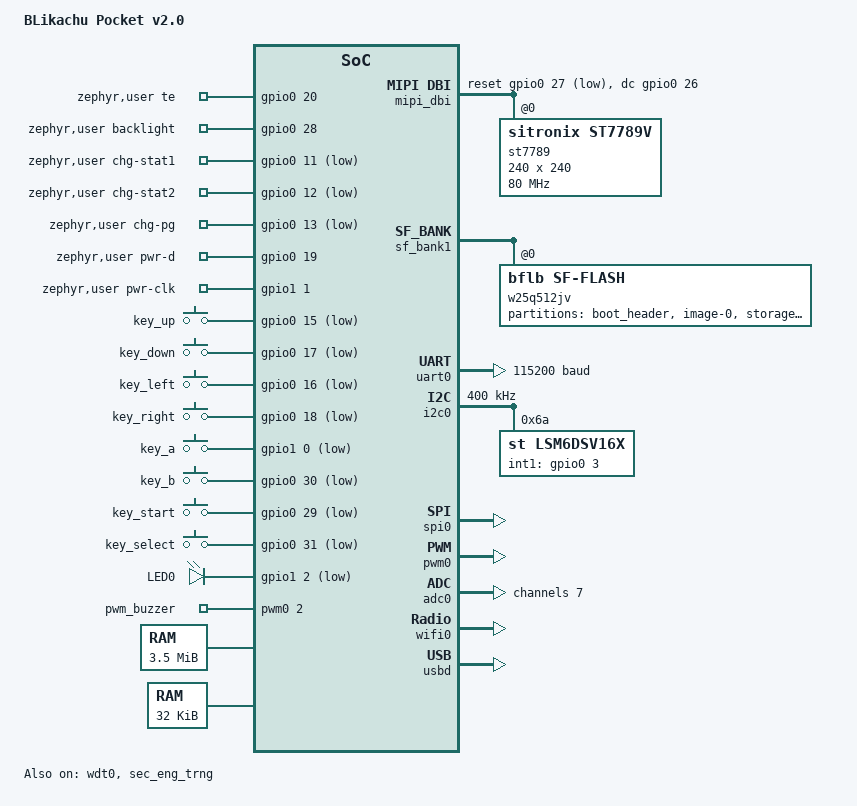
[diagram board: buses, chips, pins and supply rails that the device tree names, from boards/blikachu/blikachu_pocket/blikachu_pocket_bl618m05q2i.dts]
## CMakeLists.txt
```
#
# CMakeLists.txt for blikachu-pocket
#
# SPDX-License-Identifier: Apache-2.0
#

cmake_minimum_required(VERSION 3.20.0)

# Custom board blikachu_pocket lives in boards/blikachu/.
list(APPEND BOARD_ROOT ${CMAKE_CURRENT_SOURCE_DIR})

find_package(Zephyr REQUIRED HINTS $ENV{ZEPHYR_BASE})

project("blikachu-pocket")

include(cmake/libretro.cmake)
zephyr_linker_sources(ROM_START ${CMAKE_CURRENT_SOURCE_DIR}/src/libretro/initializers.ld)
zephyr_linker_sources(RAM_SECTIONS ${CMAKE_CURRENT_SOURCE_DIR}/src/libretro/memory.ld)
option(BLIKACHU_LIBRETRO_PROBE "Link headless libretro hardware diagnostics" ON)
if(BLIKACHU_LIBRETRO_PROBE)
    target_sources(app PRIVATE ${CMAKE_CURRENT_SOURCE_DIR}/src/libretro/probe.cpp)
endif()
target_include_directories(app PRIVATE ${CMAKE_CURRENT_SOURCE_DIR}/deps/libretro/common/include)
target_link_libraries(app PRIVATE lr_frontend lr_gambatte lr_fceumm lr_snes9x2005 lr_common)
zephyr_ld_options(-Wl,--wrap=__cxa_atexit)

target_sources(app PRIVATE
    ${CMAKE_CURRENT_SOURCE_DIR}/src/main.c
    ${CMAKE_CURRENT_SOURCE_DIR}/src/storage_shell.c
    ${CMAKE_CURRENT_SOURCE_DIR}/src/usb_upload.c
    ${CMAKE_CURRENT_SOURCE_DIR}/src/emu_shell.c
    ${CMAKE_CURRENT_SOURCE_DIR}/src/emu.c
    ${CMAKE_CURRENT_SOURCE_DIR}/src/menu.c
    ${CMAKE_CURRENT_SOURCE_DIR}/src/gfx.c
    ${CMAKE_CURRENT_SOURCE_DIR}/src/hud.c
    ${CMAKE_CURRENT_SOURCE_DIR}/src/input.c
    ${CMAKE_CURRENT_SOURCE_DIR}/src/storage.c
    ${CMAKE_CURRENT_SOURCE_DIR}/src/usbd_setup.c
    ${CMAKE_CURRENT_SOURCE_DIR}/src/resetinfo.c
    ${CMAKE_CURRENT_SOURCE_DIR}/src/battery.c
    ${CMAKE_CURRENT_SOURCE_DIR}/src/charger.c
    ${CMAKE_CURRENT_SOURCE_DIR}/src/settings.c
    ${CMAKE_CURRENT_SOURCE_DIR}/src/bootanim.c
    ${CMAKE_CURRENT_SOURCE_DIR}/src/libretro/audio.c
    ${CMAKE_CURRENT_SOURCE_DIR}/src/libretro/state.c
    ${CMAKE_CURRENT_SOURCE_DIR}/src/libretro/video.c
)
target_sources_ifdef(CONFIG_WIFI app PRIVATE ${CMAKE_CURRENT_SOURCE_DIR}/src/wifi_prov.c)
target_sources_ifdef(CONFIG_HTTP_SERVER app PRIVATE ${CMAKE_CURRENT_SOURCE_DIR}/src/webui.c)
target_sources_ifdef(CONFIG_LSM6DSV16X app PRIVATE ${CMAKE_CURRENT_SOURCE_DIR}/src/imu_shell.c)
if(CONFIG_HTTP_SERVER)
    # Firmware update: WiFi OTA + USB DFU share the PSRAM staging buffer
    # (src/ota.c) and the in-place installer.
    target_sources(app PRIVATE
        ${CMAKE_CURRENT_SOURCE_DIR}/src/ota.c
        ${CMAKE_CURRENT_SOURCE_DIR}/src/libretro/workspace.c
    )
    if(CONFIG_BOOTLOADER_MCUBOOT)
        target_sources(app PRIVATE src/bl618/fw_install_mcuboot.c src/bl618/dfu_shell.c bootloader/dfu_request.c)
        target_include_directories(app PRIVATE bootloader)
    else()
        target_sources(app PRIVATE src/bl618/fw_install.c)
    endif()
    target_sources_ifdef(CONFIG_USBD_DFU app PRIVATE
        ${CMAKE_CURRENT_SOURCE_DIR}/src/bl618/usb_dfu.c)
endif()
# The libc malloc arena lives in PSRAM — SRAM has no room left.
zephyr_code_relocate(FILES ${ZEPHYR_BASE}/lib/libc/common/source/stdlib/malloc.c
                     LOCATION PSRAM_NOINIT NOKEEP)
# NOTE: net_pkt.c pools CANNOT live in PSRAM — verified twice
# (2026-07-05, incl. a clean NOINIT-only test): the wifi blob DMAs
# frames directly into net_buf data; PSRAM is invisible to its
# engine and the chip hard-wedges on the first RX.
if(CONFIG_HTTP_SERVER)
    # Iterable section for the `webui` HTTP service's resources.
    zephyr_linker_sources(SECTIONS ${CMAKE_CURRENT_SOURCE_DIR}/src/webui-sections.ld)
    zephyr_linker_section(NAME http_resource_desc_webui KVMA RAM_REGION GROUP RODATA_REGION)
endif()

target_sources(app PRIVATE
    ${CMAKE_CURRENT_SOURCE_DIR}/src/platform_bl618.c
    ${CMAKE_CURRENT_SOURCE_DIR}/src/bl618/libgcc_ram.c
    # sys_arch_reboot(): Zephyr has none for BL61x.
    ${CMAKE_CURRENT_SOURCE_DIR}/src/bl618/reboot.c
)
# DFU / OTA payload: the whole-flash image (BFNP boot header + app)
# the BootROM boots, generated offline by bflb-mcu-tool.
if(NOT CONFIG_BOOTLOADER_MCUBOOT)
set(DFU_BIN ${CMAKE_BINARY_DIR}/zephyr/zephyr.dfu.bin)
add_custom_command(
    OUTPUT ${DFU_BIN}
    COMMAND ${PYTHON_EXECUTABLE} ${CMAKE_CURRENT_SOURCE_DIR}/tools/bflb_whole_img.py
            ${CMAKE_BINARY_DIR}/zephyr/zephyr.bin ${DFU_BIN}
    DEPENDS ${CMAKE_BINARY_DIR}/zephyr/zephyr.bin
            ${CMAKE_CURRENT_SOURCE_DIR}/tools/bflb_whole_img.py
            ${CMAKE_CURRENT_SOURCE_DIR}/tools/bflb_flash_support.py
            ${CMAKE_CURRENT_SOURCE_DIR}/tools/flash/W25Q512JV_ef4020.conf
)
add_custom_target(dfu_image ALL DEPENDS ${DFU_BIN})
add_dependencies(dfu_image zephyr_final)
endif()

target_include_directories(app PRIVATE
    ${CMAKE_CURRENT_SOURCE_DIR}/include
    ${CMAKE_CURRENT_SOURCE_DIR}/src
    ${CMAKE_CURRENT_SOURCE_DIR}/src/external
)


# Convert PNG assets to RGB565 C headers at build time.
set(ASSET_DIR ${CMAKE_CURRENT_SOURCE_DIR}/assets)
set(ASSET_GEN_DIR ${CMAKE_CURRENT_BINARY_DIR}/generated/assets)
file(MAKE_DIRECTORY ${ASSET_GEN_DIR})
file(GLOB ASSET_PNGS ${ASSET_DIR}/*.png)
foreach(png ${ASSET_PNGS})
    get_filename_component(name ${png} NAME_WE)
    set(hdr ${ASSET_GEN_DIR}/${name}_icon.h)
    # Full-screen art caps at the 240px panel (only shrinks if larger);
    # everything else is icon-sized at 80.
    if(name STREQUAL "sleep")
        set(asset_max 240)
    else()
        set(asset_max 80)
    endif()
    add_custom_command(
        OUTPUT ${hdr}
        COMMAND ${Python3_EXECUTABLE} ${CMAKE_CURRENT_SOURCE_DIR}/tools/png2rgb565.py ${png} ${hdr} ${asset_max}
        DEPENDS ${png} ${CMAKE_CURRENT_SOURCE_DIR}/tools/png2rgb565.py
                ${CMAKE_CURRENT_SOURCE_DIR}/tools/gif2frames.py
        COMMENT "asset: ${name}.png -> ${name}_icon.h"
    )
    list(APPEND ASSET_HEADERS ${hdr})
endforeach()
# Boot animation: GIF -> RGB565 frame arrays (one generated .c).
set(BOOT_ANIM_C ${ASSET_GEN_DIR}/boot_anim.c)
set(BOOT_ANIM_H ${ASSET_GEN_DIR}/boot_anim.h)
add_custom_command(
    OUTPUT ${BOOT_ANIM_C} ${BOOT_ANIM_H}
    COMMAND ${Python3_EXECUTABLE} ${CMAKE_CURRENT_SOURCE_DIR}/tools/gif2frames.py
            ${ASSET_DIR}/boot.gif ${BOOT_ANIM_C} ${BOOT_ANIM_H}
    DEPENDS ${ASSET_DIR}/boot.gif ${CMAKE_CURRENT_SOURCE_DIR}/tools/gif2frames.py
    COMMENT "asset: boot.gif -> boot_anim.c/h"
)
target_sources(app PRIVATE ${BOOT_ANIM_C})
list(APPEND ASSET_HEADERS ${BOOT_ANIM_H})

add_custom_target(asset_headers DEPENDS ${ASSET_HEADERS})
add_dependencies(app asset_headers)

target_include_directories(app PRIVATE ${ASSET_GEN_DIR})

# Keep the video conversion and core callback hot paths optimized.
set_source_files_properties(src/emu.c src/libretro/video.c src/libretro/audio.c
    PROPERTIES COMPILE_OPTIONS "-O3")
```

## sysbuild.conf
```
SB_CONFIG_BOOTLOADER_MCUBOOT=y
SB_CONFIG_MCUBOOT_MODE_SWAP_USING_OFFSET=y
SB_CONFIG_BOOT_SIGNATURE_TYPE_NONE=y
```

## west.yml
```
# West manifest for blikachu-pocket (BL618)
#
# Setup (from this directory):
#   ./build.sh
#
# (build.sh handles venv + west init + west update on first run)
#
# Zephyr: pinned to the v4.5.0 release. The BL61x USB device
# controller is not upstream and rides on top as patches/0003 (from
# will-tm/zephyr).

manifest:
  version: "1.0"

  remotes:
    - name: zephyr
      url-base: https://github.com/zephyrproject-rtos

  defaults:
    remote: zephyr

  projects:
    - name: zephyr
      revision: v4.5.0
      import:
        path-prefix: deps

    - name: libretro-common
      url: https://github.com/libretro/libretro-common
      revision: 09b55b683764d49ae1e640d7db5069931d6d2d40
      path: deps/libretro/common

    - name: libretro-gambatte
      url: https://github.com/libretro/gambatte-libretro
      revision: 138bcbbf311300a271896bf93a76370c72cab339
      path: deps/libretro/gambatte

    - name: libretro-fceumm
      url: https://github.com/libretro/libretro-fceumm
      revision: 236ccdfc911e84c60fea6b9d0699c2d440a8de14
      path: deps/libretro/fceumm

    - name: libretro-snes9x2005
      url: https://github.com/libretro/snes9x2005
      revision: deb49d80d1836e3e737480a326e31a54c46c04ae
      path: deps/libretro/snes9x2005
```

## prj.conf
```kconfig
#
# blikachu-pocket configuration
# Target: Bouffalo Lab BL618
#

# Serial / Console (over USB CDC ACM)
CONFIG_SERIAL=y
CONFIG_CONSOLE=y
CONFIG_UART_CONSOLE=y
CONFIG_UART_INTERRUPT_DRIVEN=y
CONFIG_UART_LINE_CTRL=y

# USB device stack — using the new device_next stack (USBD).
# Composite: CDC ACM (console + shell) and DFU (firmware updates).
CONFIG_USB_DEVICE_STACK=n
CONFIG_USB_DEVICE_STACK_NEXT=y
CONFIG_USBD_CDC_ACM_CLASS=y

CONFIG_USBD_LOG_LEVEL_WRN=y
# Disable noisy controller logging.
CONFIG_UDC_DRIVER_LOG_LEVEL_OFF=y

# Flash backend
CONFIG_FLASH=y
CONFIG_FLASH_MAP=y
CONFIG_FLASH_PAGE_LAYOUT=y
# Filesystem: LittleFS on NOR, with a separate raw XIP ROM partition.
CONFIG_FILE_SYSTEM=y
CONFIG_FS_LOG_LEVEL_WRN=y
CONFIG_FILE_SYSTEM_SHELL=y
CONFIG_FILE_SYSTEM_MKFS=y
CONFIG_FILE_SYSTEM_LITTLEFS=y
CONFIG_FS_LITTLEFS_CACHE_SIZE=256
CONFIG_FS_LITTLEFS_PROG_SIZE=16
CONFIG_FS_LITTLEFS_LOOKAHEAD_SIZE=64

# Logging
CONFIG_LOG=y
CONFIG_LOG_DEFAULT_LEVEL=3
CONFIG_LOG_BACKEND_UART=y
CONFIG_LOG_BUFFER_SIZE=16384
CONFIG_LOG_PROCESS_THREAD_CUSTOM_PRIORITY=y
CONFIG_LOG_PROCESS_THREAD_PRIORITY=2
# Wi-Fi connection diagnostics require more stack than the default 768 B.
CONFIG_LOG_PROCESS_THREAD_STACK_SIZE=4096
CONFIG_LOG_PROCESS_TRIGGER_THRESHOLD=1
CONFIG_LOG_PROCESS_THREAD_SLEEP_MS=100

# GPIO / SPI / PWM
CONFIG_GPIO=y
CONFIG_SPI=y
CONFIG_DMA=y
CONFIG_PWM=y
CONFIG_REGULATOR=y
CONFIG_REGULATOR_FIXED=y

# I2C bus and LSM6DSV16X IMU diagnostics.
CONFIG_I2C=y
CONFIG_I2C_SHELL=y
CONFIG_SENSOR=y
CONFIG_LSM6DSV16X=y

# Display: ST7789V via MIPI DBI (SPI)
CONFIG_DISPLAY=y
CONFIG_MIPI_DBI=y
CONFIG_MIPI_DBI_SPI=y
CONFIG_ST7789V=y
# Device PM so `sleep` can send the panel SLPIN (Sleep In) — DISPOFF
# alone leaves the booster/oscillator running (~mA vs tens of µA).
CONFIG_PM_DEVICE=y

# Input: gpio-keys polling, mapped to GB joypad in emu.c
CONFIG_INPUT=y
CONFIG_INPUT_GPIO_KEYS=y
# The input dispatcher thread defaults to K_LOWEST_APPLICATION_THREAD_PRIO,
# which the always-busy emu worker (prio 10) starves completely — the
# 16-entry event queue fills and button presses are dropped ("Event
# dropped, queue full" warnings). Keep it above the emu/render threads.
CONFIG_INPUT_THREAD_PRIORITY_OVERRIDE=y
CONFIG_INPUT_THREAD_PRIORITY=7

# Battery monitor: VBAT_MES (VBAT/2) on GPIO10/ADC7, logged every 30 s.
CONFIG_ADC=y

# Shell
CONFIG_SHELL=y
CONFIG_SHELL_BACKEND_SERIAL=y
CONFIG_SHELL_BACKEND_SERIAL_RX_RING_BUFFER_SIZE=2048
CONFIG_SHELL_BYPASS_READ_BUF_SIZE=256
# Raw register reads (`devmem`) — non-invasive hardware state checks
# (e.g. verifying the GPIO26 power-hold pad without reconfiguring it).
CONFIG_DEVMEM_SHELL=y
CONFIG_SHELL_PROMPT_UART="blikachu$ "
# Don't double-emit log lines through both the UART backend and the
# shell's own log forwarder — the duplicates flood CDC TX at 60 fps.
CONFIG_SHELL_LOG_BACKEND=n
# Shell and system workqueue also run filesystem operations and UI rendering.
CONFIG_SHELL_STACK_SIZE=8192
CONFIG_SYSTEM_WORKQUEUE_STACK_SIZE=8192

# 10 us system tick — emu_loop's k_timer paces frames at 16743 us (the
# real DMG period). At the default 100 us tick the period rounds and we
# cap at ~59.88 fps; with 10 us ticks we land within ~0.06% of 59.7275
# fps. Cost is 10x more tick interrupts, negligible at 312 MHz.
CONFIG_SYS_CLOCK_TICKS_PER_SEC=100000

# UDC buffer pool for concurrent CDC ACM and DFU transfers.
CONFIG_UDC_BUF_POOL_SIZE=8192
CONFIG_UDC_BUF_COUNT=24

# Memory
CONFIG_HEAP_MEM_POOL_SIZE=32768
CONFIG_MAIN_STACK_SIZE=8192

# Build with -O2 + further hot-path overrides in CMakeLists.txt for the
# emulator core. Plenty of flash room and we burn most cycles inside
# gb_run_frame, so size-for-speed trade is well worth it.
CONFIG_SPEED_OPTIMIZATIONS=y

# Crash diagnostics.
CONFIG_THREAD_NAME=y
CONFIG_THREAD_STACK_INFO=y
CONFIG_THREAD_RUNTIME_STATS=y
# Hardware watchdog, fed from a high-priority thread in resetinfo.c.
# A wedge that kills interrupts (fault-in-fault lockup, corrupted
# kernel) starves the feeder and the chip self-resets instead of
# hanging until a physical replug; chip_reset then shows WATCHDOG.
CONFIG_WATCHDOG=y

# Pin the shell to a higher-urgency priority than the emulator's runner so
# `quit`, `pause`, `stats` etc. always preempt the per-frame loop.
CONFIG_SHELL_THREAD_PRIORITY_OVERRIDE=y
CONFIG_SHELL_THREAD_PRIORITY=4

# Round-robin among same-priority preempt threads.
CONFIG_TIMESLICING=y
CONFIG_TIMESLICE_SIZE=10
CONFIG_TIMESLICE_PRIORITY=0
```

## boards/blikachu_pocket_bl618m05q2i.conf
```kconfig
# BL618 production overrides: complete game/UI stack, USB CDC +
# DFU, and WiFi/WebUI. UART0 is log output only.



# No fixed-regulator node on this board (power latch is GPIO-driven).
CONFIG_REGULATOR=n
CONFIG_REGULATOR_FIXED=n


# Tickless operation with 10 us ticks keeps 16.743 ms frame pacing accurate.
CONFIG_SYS_CLOCK_TICKS_PER_SEC=100000

# Gambatte uses the C++ library; allocation failures must reach the frontend.
CONFIG_CPP=y
CONFIG_REQUIRES_FULL_LIBCPP=y
CONFIG_STD_CPP17=y
CONFIG_CPP_EXCEPTIONS=y
CONFIG_CPP_RTTI=n
CONFIG_SYS_HEAP_RUNTIME_STATS=y

# `reboot` shell command (sys_reboot).
CONFIG_REBOOT=y

# Bring-up helpers: poke pins / ADC / PWM / buttons from the shell.
CONFIG_GPIO_SHELL=y
CONFIG_ADC_SHELL=y
CONFIG_PWM_SHELL=y
CONFIG_INPUT_SHELL=y
CONFIG_INPUT_EVENT_DUMP=y

# --- WiFi (BL61x full-MAC blob + hostap) ---
CONFIG_WIFI=y
# Upstream driver symbol (was BFLB_WIFI before the driver merged into
# drivers/wifi/bflb; auto-selects the wpa_supplicant + WL80211 shim).
CONFIG_WIFI_BFLB=y
CONFIG_NETWORKING=y
CONFIG_NET_L2_WIFI_MGMT=y
CONFIG_NET_L2_WIFI_SHELL=y
CONFIG_WPA_CLI=y
CONFIG_NET_IPV4=y
CONFIG_NET_DHCPV4=y
CONFIG_NET_UDP=y
CONFIG_NET_TCP=y
CONFIG_NET_SHELL=y
CONFIG_NET_LOG=y
CONFIG_DNS_RESOLVER=y
CONFIG_LOG_BUFFER_SIZE=1024
CONFIG_NET_MGMT_EVENT_QUEUE_SIZE=32
CONFIG_NET_MGMT_EVENT_QUEUE_TIMEOUT=100
# Keep the kernel and driver heap in SRAM; hostap scan results and other
# supplicant allocations use a separate PSRAM heap.
CONFIG_WIFI_NM_WPA_SUPPLICANT_GLOBAL_HEAP=n
CONFIG_WIFI_NM_WPA_SUPPLICANT_HEAP=49152
CONFIG_HEAP_MEM_POOL_SIZE=36864


# --- WebUI (Zephyr native http_server) ---
CONFIG_HTTP_SERVER=y
# libc malloc arena: default -1 grabs "all leftover RAM" which is a
# couple of KB here — first malloc aborts (found via the raw fatal
# dump: pc=malloc_prepare). Fixed size, relocated to PSRAM in CMake.
CONFIG_COMMON_LIBC_MALLOC_ARENA_SIZE=65536
CONFIG_HTTP_SERVER_RESOURCE_WILDCARD=y

# HTTP/TCP throughput tuning (from Will's speed_test project):
# full-frame net bufs + big TCP windows; pools live in PSRAM.
CONFIG_HTTP_SERVER_CLIENT_BUFFER_SIZE=1280
CONFIG_HTTP_SERVER_CLIENT_INACTIVITY_TIMEOUT=10
CONFIG_NET_TCP_RECV_QUEUE_TIMEOUT=300
CONFIG_NET_TCP_INIT_RETRANSMISSION_TIMEOUT=100
CONFIG_HTTP_SERVER_MAX_CLIENTS=3
# HTTP/1.1 only (meme_portal-proven); smaller server stack.
CONFIG_HTTP_SERVER_VERSION_1=y
CONFIG_HTTP_SERVER_VERSION_2=n
# RX processing must not run cooperative: a coop TC thread hogging
# the CPU during a big upload starves every preemptible thread (wdt
# feeder, USB, shell) — exactly the observed wedge signature.
CONFIG_NET_TC_THREAD_PREEMPTIVE=y
# fs/settings/PBKDF2 paths need the full 8K shell stack ;
# 6144 overflowed silently (no PSPLIM on riscv) once layout shifted —
# crashed every deep flash write. Paid for by halving HTTP buffers.
CONFIG_SHELL_STACK_SIZE=8192
CONFIG_HTTP_SERVER_WEBSOCKET=y
CONFIG_WEBSOCKET_CLIENT=y
# Aborted uploads hold TCP contexts until timeout; default 6 runs out.
CONFIG_NET_MAX_CONTEXTS=8
# Buzzer frequency changes are routine; suppress PWM driver INFO logs.
CONFIG_PWM_LOG_LEVEL_WRN=y

# --- USB DFU firmware update (src/bl618/usb_dfu.c) ---
# dfu-util -d 2e8a:000a -D build/zephyr/zephyr.dfu.bin
CONFIG_USBD_DFU=y
CONFIG_USBD_DFU_TRANSFER_SIZE=1024
CONFIG_USBD_DFU_ENABLE_UPLOAD=n
# Not manifestation tolerant: the device installs and resets after the
# download instead of returning to dfuIDLE.
CONFIG_USBD_DFU_MANIFESTATION_TOLERANT=n
CONFIG_USBD_DFU_LOG_LEVEL_WRN=y
# Image check (SHA-256 against the BFNP header).
CONFIG_PSA_CRYPTO=y
CONFIG_PSA_WANT_ALG_SHA_256=y

# Keep CDC traffic from generating a log entry for every transmitted chunk.
CONFIG_USBD_CDC_ACM_LOG_LEVEL_WRN=y

# Installer error paths must not call XIP-resident logging after erase.
CONFIG_FLASH_LOG_LEVEL_OFF=y

CONFIG_FILE_SYSTEM_SHELL_MOUNT_COMMAND=n
```

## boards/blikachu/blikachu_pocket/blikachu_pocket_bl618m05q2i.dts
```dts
/*
 * BLikachu Pocket v2.0 — BL618 handheld Game Boy emulator.
 *
 * Pin map (from hardware/ PCB netlist — pads are ground truth,
 * the schematic is partly an Eagle import):
 *   I2C0 (LSM6DSV16X IMU, INT1=GPIO3):
 *     SCL=GPIO0  SDA=GPIO1
 *   BOOT button (SW1, to +3V3 — BootROM entry, not an input key):
 *     GPIO2
 *   QSPI flash on SF2 pad set (external — BL618M05 has no internal
 *   die): W25Q512JV 64 MB (U3).
 *     CS=GPIO4 D1=GPIO5 D2=GPIO6 D0=GPIO7 CLK=GPIO8 D3=GPIO9
 *   Battery measurement: VBAT_MES=GPIO10 (VBAT/2, ADC CH7)
 *   Charger status (MCP73871, open-drain active-low):
 *     STAT1=GPIO11  STAT2=GPIO12  PG=GPIO13
 *   Magnetic buzzer (BZ1 on +3V3 via Q4 BC847, D12 flyback):
 *     GPIO14 (PWM0 CH2P)
 *   D-pad / buttons (active-low, internal pull-up):
 *     UP=GPIO15  LEFT=GPIO16  DOWN=GPIO17  RIGHT=GPIO18
 *     START=GPIO29  B=GPIO30  SELECT=GPIO31  A=GPIO32
 *   Power latch (74LVC1G80 ~Q -> Q3 NMOS -> Q5 PMOS, VBAT->VIN):
 *     D=GPIO19 (/PWR_ON)  CP=GPIO33 (/CLOCK_FF)
 *     R40 (0R) ties D to ~Q: a toggle flip-flop, each CP rising edge
 *     flips power. ~Q high = held. GPIO19 is input-only (reads ~Q).
 *     Power button pulls Q5's gate via D8 (and reads as START via D9).
 *   ST7789V SPI 240x240 (ZJY133T-IF05 FPC, write-only):
 *     MOSI=GPIO23  CS=GPIO24  SCLK=GPIO25  DC(RS)=GPIO26  RST=GPIO27
 *     TE=GPIO20  Backlight=GPIO28 (Q2 low-side, PWM0 CH0P)
 *   UART0 console/shell (J3 header + CKLink adapter):
 *     TX=GPIO21  RX=GPIO22  (BootROM download pins too)
 *   USB-C: native USB HS PHY (dedicated pins, via USBLC6 ESD) —
 *     CDC ACM shell via the bl61x UDC (patches/0003).
 *   LED0=GPIO34
 *
 * GPIO numbering: gpio0 covers GPIO0-31, gpio1 covers GPIO32-34
 * (pins 0-2).
 *
 * Flash layout (64 MB W25Q512JV, 4-byte addresses):
 *   boot_header: 8 KiB (BootROM flash config + app length/SHA-256)
 *   image-0:     8 MB minus the header
 *   storage:     56 MB FATFS "NAND"
 *
 * SPDX-License-Identifier: Apache-2.0
 */

/dts-v1/;

#include <bflb/bl618.dtsi>
#include <bflb/bl61x_em_32kb_wifi.dtsi>

#include <freq.h>
#include <zephyr/dt-bindings/input/input-event-codes.h>
#include <zephyr/dt-bindings/display/panel.h>
#include <zephyr/dt-bindings/mipi_dbi/mipi_dbi.h>
#include <zephyr/dt-bindings/pwm/pwm.h>
#include <zephyr/dt-bindings/sensor/lsm6dsv16x.h>

/ {
	model = "BLikachu Pocket v2.0";
	compatible = "bflb,bl618";

	chosen {
		zephyr,flash = &w25q512jv;
		zephyr,flash-controller = &sf_bank1;
		zephyr,code-partition = &code_partition;
		zephyr,sram = &all_ram;
		zephyr,console = &uart0;
		zephyr,shell-uart = &cdc_acm_uart0;
		zephyr,entropy = &sec_eng_trng;
		zephyr,display = &st7789;
	};

	aliases {
		buzzer = &pwm_buzzer;
		watchdog0 = &wdt0;
		vbat-adc = &adc0;
		led0 = &led_0;
	};

	zephyr,user {
		/* ST7789V tear-effect output. */
		te-gpios = <&gpio0 20 GPIO_ACTIVE_HIGH>;
		/* Backlight moved off PWM0 (single global period shared
		 * with the buzzer — every note retuned it): timer0
		 * soft-PWM drives the pin as plain GPIO instead.
		 */
		backlight-gpios = <&gpio0 28 GPIO_ACTIVE_HIGH>;

		/* MCP73871 status outputs (open-drain, LED-loaded — internal
		 * pull-ups required for a solid released level).
		 */
		chg-stat1-gpios = <&gpio0 11 (GPIO_ACTIVE_LOW | GPIO_PULL_UP)>;
		chg-stat2-gpios = <&gpio0 12 (GPIO_ACTIVE_LOW | GPIO_PULL_UP)>;
		chg-pg-gpios = <&gpio0 13 (GPIO_ACTIVE_LOW | GPIO_PULL_UP)>;

		/* 74LVC1G80 power latch, D tied to ~Q (R40): GPIO19 reads
		 * the state (high = held), a CP rising edge toggles it.
		 */
		pwr-d-gpios = <&gpio0 19 GPIO_ACTIVE_HIGH>;
		pwr-clk-gpios = <&gpio1 1 GPIO_ACTIVE_HIGH>;	/* GPIO33 */
	};

	keys: gpio_keys {
		compatible = "gpio-keys";
		polling-mode;

		key_up: key_up {
			gpios = <&gpio0 15 (GPIO_ACTIVE_LOW | GPIO_PULL_UP)>;
			zephyr,code = <INPUT_KEY_UP>;
		};
		key_down: key_down {
			gpios = <&gpio0 17 (GPIO_ACTIVE_LOW | GPIO_PULL_UP)>;
			zephyr,code = <INPUT_KEY_DOWN>;
		};
		key_left: key_left {
			gpios = <&gpio0 16 (GPIO_ACTIVE_LOW | GPIO_PULL_UP)>;
			zephyr,code = <INPUT_KEY_LEFT>;
		};
		key_right: key_right {
			gpios = <&gpio0 18 (GPIO_ACTIVE_LOW | GPIO_PULL_UP)>;
			zephyr,code = <INPUT_KEY_RIGHT>;
		};
		key_a: key_a {
			gpios = <&gpio1 0 (GPIO_ACTIVE_LOW | GPIO_PULL_UP)>;	/* GPIO32 */
			zephyr,code = <INPUT_BTN_A>;
		};
		key_b: key_b {
			gpios = <&gpio0 30 (GPIO_ACTIVE_LOW | GPIO_PULL_UP)>;
			zephyr,code = <INPUT_BTN_B>;
		};
		key_start: key_start {
			gpios = <&gpio0 29 (GPIO_ACTIVE_LOW | GPIO_PULL_UP)>;
			zephyr,code = <INPUT_BTN_START>;
		};
		key_select: key_select {
			gpios = <&gpio0 31 (GPIO_ACTIVE_LOW | GPIO_PULL_UP)>;
			zephyr,code = <INPUT_BTN_SELECT>;
		};
	};

	leds {
		compatible = "gpio-leds";
		led_0: led_0 {
			gpios = <&gpio1 2 GPIO_ACTIVE_LOW>;	/* GPIO34 */
			label = "LED0";
		};
	};

	mipi_dbi {
		compatible = "zephyr,mipi-dbi-spi";
		spi-dev = <&spi0>;
		dc-gpios = <&gpio0 26 GPIO_ACTIVE_HIGH>;
		reset-gpios = <&gpio0 27 GPIO_ACTIVE_LOW>;
		write-only;
		#address-cells = <1>;
		#size-cells = <0>;

		st7789: st7789v@0 {
			compatible = "sitronix,st7789v";
			mipi-max-frequency = <DT_FREQ_M(80)>;
			reg = <0>;
			width = <240>;
			height = <240>;
			x-offset = <0>;
			y-offset = <0>;
			vcom = <0x37>;
			gctrl = <0x35>;
			vrhs = <0x12>;
			vdvs = <0x20>;
			mdac = <0x00>;
			gamma = <0x01>;
			pixel-format = <PANEL_PIXEL_FORMAT_RGB_565>;
			lcm = <0x2c>;
			porch-param = [0c 0c 00 33 33];
			cmd2en-param = [5a 69 02 01];
			pwctrl1-param = [a4 a1];
			pvgam-param = [d0 04 0d 11 13 2b 3f 54 4c 18 0d 0b 1f 23];
			nvgam-param = [d0 04 0c 11 13 2c 3f 44 51 2f 1f 1f 20 23];
			ram-param = [00 f0];
			rgb-param = [cd 08 14];
			mipi-mode = "MIPI_DBI_MODE_SPI_4WIRE";
		};
	};

	pwmleds {
		compatible = "pwm-leds";
		pwm_buzzer: pwm_buzzer {
			pwms = <&pwm0 2 0 PWM_POLARITY_NORMAL>;	/* GPIO14 CH2P */
		};
	};
};

/* CPU boost on AU PLL; keep BCLK, WiFi PLL, flash and PSRAM at
 * their normal peripheral rates. */
&clk_aupll {
	top-frequency = <BL61X_TOP_FREQ_OC1>;
};

&clk_bclk {
	divider = <6>;
};

&cpu0 {
	clock-frequency = <DT_FREQ_M(480)>;
};

/* With Bluetooth disabled, EM_SEL=0 exposes the upper 32 KiB of WRAM.
 * The lower 128 KiB stays reserved for WiFi and DMA data. Use the cached
 * alias of the upper slice for emulator code, with no physical overlap.
 */
/ {
	core_ram: memory@a8080000 {
		compatible = "zephyr,memory-region";
		reg = <0xa8080000 DT_SIZE_K(3584)>;
		zephyr,memory-region = "CORE_RAM";
		zephyr,memory-region-flags = "rw";
	};

	emu_code: memory@63030000 {
		compatible = "zephyr,memory-region";
		reg = <0x63030000 DT_SIZE_K(32)>;
		zephyr,memory-region = "EMURAM";
		zephyr,memory-region-flags = "rx";
	};
};

/* Firmware/network buffers are separate from the mutually exclusive core
 * and firmware-update workspace in the upper 3.5 MiB of physical PSRAM.
 */
&psram {
	reg = <0xa8000000 DT_SIZE_K(512)>;
	ranges = <0x0 0xa8000000 DT_SIZE_K(512)>;
};

&pinctrl {
	uart0_default: uart0_default {
		group1 {
			pinmux = <GPIO22_UART0_RX>,
				 <GPIO21_UART0_TX>;
			bias-pull-up;
			input-schmitt-enable;
		};
	};

	uart0_sleep: uart0_sleep {
		group1 {
			pinmux = <GPIO22_UART0_RX>,
				 <GPIO21_UART0_TX>;
			bias-high-impedance;
		};
	};

	i2c0_default: i2c0_default {
		group1 {
			pinmux = <GPIO0_I2C0_SCL>,
				 <GPIO1_I2C0_SDA>;
			bias-pull-up;
			input-schmitt-enable;
		};
	};

	spi0_display: spi0_display {
		group1 {
			pinmux = <GPIO25_SPI_SCLK>,
				 <GPIO23_SPI_MOSI>;
			bias-pull-up;
			input-schmitt-enable;
		};
	};

	pwm0_default: pwm0_default {
		group1 {
			pinmux = <GPIO14_PWM0_CH2P>;	/* buzzer */
			bias-pull-up;
			input-schmitt-enable;
			drive-strength = <1>;
		};
	};

	adc0_default: adc0_default {
		group1 {
			pinmux = <GPIO10_ADC_CH7>;	/* VBAT_MES = VBAT/2 */
		};
	};

	sf2_default: sf2_default {
		group1 {
			pinmux = <GPIO4_SF2_CS>,
				 <GPIO5_SF2_D1>,
				 <GPIO6_SF2_D2>,
				 <GPIO7_SF2_D0>,
				 <GPIO8_SF2_CLK>,
				 <GPIO9_SF2_D3>;
			bias-pull-up;
			input-schmitt-enable;
			drive-strength = <2>;
		};
	};
};

&clk_flash {
	divider = <1>;
};

&sf_ctrl {
	use-32b-addresses;
	override-bank1;
	no-header;
};

&sf_bank1 {
	reg = <0xa0000000 DT_SIZE_M(64)>;
	ranges = <0x0 0xa0000000 DT_SIZE_M(64)>;

	pinctrl-0 = <&sf2_default>;
	pinctrl-names = "default";

	w25q512jv: flash@0 {
		compatible = "bflb,sf-flash", "soc-nv-flash";
		reg = <0 DT_SIZE_M(64)>;
		ranges;
		#address-cells = <1>;
		#size-cells = <1>;
		write-block-size = <4>;
		erase-block-size = <DT_SIZE_K(4)>;

		spi-bus-mode = <2>;
		use-sfdp;
		sf-pad = <2>;
		jedec-id = [ef 40 20];

		/* Quad-output reads retain a single-line command/address phase
		 * and have no continuous-read mode byte. SFDP supplies QE setup.
		 */
		read-command = <0x6b>;
		read-dummy-cycles = <1>;

		partitions {
			ranges;
			#address-cells = <1>;
			#size-cells = <1>;

			boot_header_partition: partition@0 {
				compatible = "zephyr,mapped-partition";
				label = "boot_header";
				reg = <0x00000000 0x2000>;
				read-only;
			};

			code_partition: partition@2000 {
				compatible = "zephyr,mapped-partition";
				label = "image-0";
				reg = <0x00002000 (DT_SIZE_M(8) - 0x2000)>;
				read-only;
			};

			storage_partition: partition@800000 {
				compatible = "zephyr,mapped-partition";
				label = "storage";
				reg = <DT_SIZE_M(8) DT_SIZE_M(8)>;
			};

			rom_partition: partition@1000000 {
				compatible = "zephyr,mapped-partition";
				label = "roms";
				reg = <DT_SIZE_M(16) DT_SIZE_M(48)>;
			};
		};
	};
};

&uart0 {
	status = "okay";
	current-speed = <115200>;

	pinctrl-0 = <&uart0_default>;
	pinctrl-1 = <&uart0_sleep>;
	pinctrl-names = "default", "sleep";
};

&i2c0 {
	status = "okay";
	clock-frequency = <I2C_BITRATE_FAST>;

	pinctrl-0 = <&i2c0_default>;
	pinctrl-names = "default";

	lsm6dsv16x: lsm6dsv16x@6a {
		compatible = "st,lsm6dsv16x";
		reg = <0x6a>;
		int1-gpios = <&gpio0 3 GPIO_ACTIVE_HIGH>;
		accel-odr = <LSM6DSVXXX_DT_ODR_AT_60Hz>;
		accel-range = <LSM6DSV16X_DT_FS_2G>;
		status = "okay";
	};
};

&spi0 {
	status = "okay";

	pinctrl-0 = <&spi0_display>;
	pinctrl-names = "default";

	cs-gpios = <&gpio0 24 GPIO_ACTIVE_LOW>;

	/* Display push: TX over DMA channel 0 (trigsrc 0xb = SPI0_TX) */
	dmas = <&dma0 0 0xb>;
	dma-names = "tx";
};

&dma0 {
	status = "okay";
};

&pwm0 {
	status = "okay";

	pinctrl-0 = <&pwm0_default>;
	pinctrl-names = "default";
};

&adc0 {
	status = "okay";

	pinctrl-0 = <&adc0_default>;
	pinctrl-names = "default";

	#address-cells = <1>;
	#size-cells = <0>;

	channel@7 {
		reg = <7>;
		zephyr,gain = "ADC_GAIN_1";
		zephyr,reference = "ADC_REF_INTERNAL";
		zephyr,acquisition-time = <ADC_ACQ_TIME_DEFAULT>;
		zephyr,resolution = <16>;
		zephyr,input-positive = <7>;
	};
};

&wdt0 {
	status = "okay";
};

&sec_eng_trng {
	status = "okay";
};

&gpio0 {
	status = "okay";
};

&gpio1 {
	status = "okay";
};

&wifi0 {
	status = "okay";
};

zephyr_udc0: &usbd {
	status = "okay";

	cdc_acm_uart0: cdc_acm_uart0 {
		compatible = "zephyr,cdc-acm-uart";
	};
};
```

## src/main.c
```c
/*
 * SPDX-FileCopyrightText: Copyright The Zephyr Project Contributors
 *
 * SPDX-License-Identifier: Apache-2.0
 */

#include <stdlib.h>
#include <string.h>
#include <strings.h>
#include <zephyr/kernel.h>
#include <zephyr/logging/log.h>
#include <zephyr/drivers/uart.h>
#include <zephyr/device.h>
#include <zephyr/shell/shell.h>
#include <zephyr/fs/fs.h>
#include <zephyr/drivers/hwinfo.h>
#include <zephyr/drivers/display.h>
#include <zephyr/pm/device.h>


#include "bootanim.h"
#ifdef CONFIG_BOOTLOADER_MCUBOOT
#include <zephyr/dfu/mcuboot.h>
#endif
#include "charger.h"
#include "emu.h"
#include <libretro.h>
#include "gfx.h"
#include "hud.h"
#include "input.h"
#include "menu.h"
#include "settings.h"
#include "storage.h"
#include "usbd_setup.h"

LOG_MODULE_REGISTER(blikachu, LOG_LEVEL_INF);

#include "platform.h"
#include "bl618/reboot.h"

static int cmd_reboot(const struct shell *sh, size_t argc, char **argv)
{
	ARG_UNUSED(argc);
	ARG_UNUSED(argv);
	shell_print(sh, "Rebooting...");
	storage_unmount();
	/* Let the CDC TX drain so the message actually reaches the host. */
	k_msleep(100);
	platform_reboot();
	return 0;
}
SHELL_CMD_REGISTER(reboot, NULL, "Soft-reboot back into the firmware (warm reset)", cmd_reboot);

static int cmd_isp(const struct shell *sh, size_t argc, char **argv)
{
	ARG_UNUSED(argc);
	ARG_UNUSED(argv);
	shell_print(sh, "Entering BootROM ISP...");
	emu_quit();
	emu_wait();
	storage_unmount();
	k_msleep(100);
	bl618_enter_isp();
}
SHELL_CMD_REGISTER(isp, NULL, "Reset into BootROM ISP", cmd_isp);

/* Power-off: blank the display, unmount storage and drop the power latch. */
#include "sleep_icon.h" /* generated from assets/sleep.png */

static int enter_deep_sleep(void)
{
	emu_buzzer_blip(440, 120);
	emu_quit();
	emu_wait();
	storage_unmount();

	/* Goodnight splash for 2 s before the panel goes dark (also
	 * covers CDC TX drain and emu wind-down).
	 */
	if (gfx_init() == 0) {
		gfx_clear(COLOR_BLACK);
		/* Full-panel art: center against the physical 240x240 panel
		 * (gfx_draw_image applies the +LCD_VIEW_Y viewport offset,
		 * compensate so panel row 0 is reachable).
		 */
		(void)gfx_draw_image_rle((LCD_PANEL_W - SLEEP_ICON_W) / 2,
			(LCD_PANEL_H - SLEEP_ICON_H) / 2 - LCD_VIEW_Y, SLEEP_ICON_W,
			SLEEP_ICON_H, sleep_icon_rle, ARRAY_SIZE(sleep_icon_rle));
	}
	k_msleep(2000);

	/* LCD off: panel display-off + backlight (GPIO28) to zero. */
	const struct device *disp = DEVICE_DT_GET_OR_NULL(DT_CHOSEN(zephyr_display));
	int rc_blank = -1;
	int rc_pm = -1;

	if (disp && device_is_ready(disp)) {
		rc_blank = display_blanking_on(disp);
		/* SLPIN: stop the panel booster/oscillator (~mA -> µA).
		 * The 3V3 rail stays up in deep sleep, so panel idle draw
		 * is part of the sleep floor.
		 */
		rc_pm = pm_device_action_run(disp, PM_DEVICE_ACTION_SUSPEND);
	}
	gfx_backlight_off();
	LOG_INF("sleep: blank=%d pm=%d", rc_blank, rc_pm);
	k_msleep(150); /* drain the log over CDC before the link dies */

	/* Enter the platform's deepest state; only returns on refusal
	 * (e.g. externally powered) — re-light and carry on.
	 */
	int rc = platform_deep_sleep();

	(void)gfx_backlight_set(gfx_backlight_get());
	if (disp && device_is_ready(disp)) {
		(void)pm_device_action_run(disp, PM_DEVICE_ACTION_RESUME);
		(void)display_blanking_off(disp);
	}
	return rc;
}

static int cmd_sleep(const struct shell *sh, size_t argc, char **argv)
{
	/* `sleep dry`: run the LCD-off sequence but stay awake — lets the
	 * screen state be inspected with the console alive (debug).
	 */
	if (argc > 1 && strcmp(argv[1], "dry") == 0) {
		const struct device *disp = DEVICE_DT_GET_OR_NULL(DT_CHOSEN(zephyr_display));
		int rc_blank = -1;
		int rc_pm = -1;

		if (disp && device_is_ready(disp)) {
			rc_blank = display_blanking_on(disp);
			rc_pm = pm_device_action_run(disp, PM_DEVICE_ACTION_SUSPEND);
		}
		gfx_backlight_off();
		shell_print(sh, "dry sleep: blank=%d pm=%d — restoring in 8 s", rc_blank, rc_pm);
		k_sleep(K_SECONDS(8));
		(void)gfx_backlight_set(gfx_backlight_get());
		if (disp && device_is_ready(disp)) {
			(void)pm_device_action_run(disp, PM_DEVICE_ACTION_RESUME);
			(void)display_blanking_off(disp);
		}
		shell_print(sh, "restored");
		return 0;
	}

	shell_print(sh, "Deep sleep: wake on SELECT/B/A/START...");
	int rc = enter_deep_sleep();

	shell_error(sh, "sleep failed: %d", rc);
	return rc;
}
SHELL_CMD_REGISTER(sleep, NULL, "Deepest sleep (no RAM retention), wake on SELECT/B/A/START",
		   cmd_sleep);

/* ---- Global button hotkeys ----
 *
 * Observes raw input events independently of whoever owns the input
 * handler (menu or emulator); synthetic `emu btn` presses do NOT pass
 * through here (they poke the joypad word directly).
 *
 *  - START held >1.5 s      → deep sleep
 *  - SELECT + UP / DOWN     → volume up / down (0..11)
 *  - SELECT + LEFT / RIGHT  → backlight dimmer / brighter (1..10)
 *
 * Volume/brightness are persisted through the settings store, debounced
 * so button-mashing doesn't hammer the flash.
 */
#define LONGPRESS_TIMEOUT K_MSEC(1500)

static void sleep_longpress_work_fn(struct k_work *w)
{
	ARG_UNUSED(w);
	/* Power-on grace: on v2 the power button doubles as a key and
	 * must be held until the latch engages — don't let that same
	 * press read as "START held, sleep" (which on BL618 releases
	 * the latch = instant power-off after boot).
	 */
	if (k_uptime_get() < 5000) {
		LOG_INF("START held during boot — ignoring (power-on press)");
		return;
	}
	LOG_INF("START held — entering deep sleep");
	(void)enter_deep_sleep();
}
static K_WORK_DELAYABLE_DEFINE(g_sleep_longpress, sleep_longpress_work_fn);

/* Idle auto-sleep: 5 minutes without a button press while the MENU is
 * showing AND running on battery. Rearmed by every physical input
 * event (the hotkey filter sees them all); a running game or
 * external power (charger PG) postpones sleep.
 */
#define IDLE_SLEEP_TIMEOUT K_MINUTES(5)

static void idle_sleep_work_fn(struct k_work *w);
static K_WORK_DELAYABLE_DEFINE(g_idle_sleep, idle_sleep_work_fn);

static void idle_sleep_work_fn(struct k_work *w)
{
	ARG_UNUSED(w);
	struct emu_stats s;

	emu_get_stats(&s);
	if (s.running || charger_input_present()) {
		k_work_reschedule(&g_idle_sleep, IDLE_SLEEP_TIMEOUT);
		return;
	}
	LOG_INF("menu idle — entering deep sleep");
	(void)enter_deep_sleep();
}

static void hotkey_persist_work_fn(struct k_work *w)
{
	ARG_UNUSED(w);
	(void)settings_set_int("vol", emu_buzzer_volume_get());
	(void)settings_set_int("bright", gfx_backlight_get());
}
static K_WORK_DELAYABLE_DEFINE(g_hotkey_persist, hotkey_persist_work_fn);

/* SELECT chord state. SELECT's press is DEFERRED: swallowed on press,
 * and its meaning decided by what follows:
 *  - a direction  → hotkey chord; the handler never sees SELECT at all
 *  - release      → it was a tap; inject a clean synthetic tap
 *  - START/A/B    → combo (e.g. SELECT+START quit); flush the pending
 *                   SELECT press first, then let the other key through
 */
static bool g_select_held;     /* physical state */
static bool g_select_pending;  /* press not yet delivered to handler */
static bool g_select_was_chord;

static void select_flush(void)
{
	if (g_select_pending) {
		input_inject(INPUT_BTN_SELECT, true);
		g_select_pending = false;
		g_select_was_chord = false;
	}
}

static bool hotkey_level_adjust(uint16_t code)
{
	switch (code) {
	case INPUT_KEY_UP:
		emu_buzzer_volume(emu_buzzer_volume_get() + 1);
		hud_show_level("VOL", emu_buzzer_volume_get(), 11);
		emu_buzzer_blip(880, 40); /* audible at the NEW volume */
		break;
	case INPUT_KEY_DOWN:
		emu_buzzer_volume(emu_buzzer_volume_get() - 1);
		hud_show_level("VOL", emu_buzzer_volume_get(), 11);
		emu_buzzer_blip(880, 40);
		break;
	case INPUT_KEY_RIGHT:
		(void)gfx_backlight_set(gfx_backlight_get() + 1);
		hud_show_level("LCD", gfx_backlight_get(), GFX_BRIGHT_MAX);
		emu_buzzer_blip(1320, 20);
		break;
	case INPUT_KEY_LEFT:
		(void)gfx_backlight_set(gfx_backlight_get() - 1);
		hud_show_level("LCD", gfx_backlight_get(), GFX_BRIGHT_MAX);
		emu_buzzer_blip(1320, 20);
		break;
	default:
		return false;
	}
	k_work_reschedule(&g_hotkey_persist, K_MSEC(1500));
	return true;
}

/* Panic chord: A+B+START+SELECT all held 2 s → clean reboot. The input
 * path runs independently of the shell, so this recovers a wedged
 * console without the power button (GBA-style soft reset; games with
 * their own A+B+START+SELECT reset fire on press — only a deliberate
 * hold reboots the device).
 */
static void panic_reboot_work_fn(struct k_work *w)
{
	ARG_UNUSED(w);
	LOG_INF("panic chord held — rebooting");
	storage_unmount();
	platform_reboot();
}
static K_WORK_DELAYABLE_DEFINE(g_panic_reboot, panic_reboot_work_fn);
static uint8_t g_panic_mask;

static void panic_chord_track(uint16_t code, bool pressed)
{
	uint8_t bit;

	switch (code) {
	case INPUT_BTN_A:
		bit = BIT(0);
		break;
	case INPUT_BTN_B:
		bit = BIT(1);
		break;
	case INPUT_BTN_START:
		bit = BIT(2);
		break;
	case INPUT_BTN_SELECT:
		bit = BIT(3);
		break;
	default:
		return;
	}
	g_panic_mask = pressed ? (g_panic_mask | bit) : (g_panic_mask & ~bit);
	if (g_panic_mask == 0x0f) {
		k_work_reschedule(&g_panic_reboot, K_SECONDS(2));
	} else {
		(void)k_work_cancel_delayable(&g_panic_reboot);
	}
}

static bool system_hotkeys_filter(struct input_event *evt)
{
	if (evt->type != INPUT_EV_KEY) {
		return false;
	}

	/* Any physical button counts as activity for idle auto-sleep. */
	k_work_reschedule(&g_idle_sleep, IDLE_SLEEP_TIMEOUT);

	panic_chord_track(evt->code, evt->value);

	/* SNES modifier buttons consume both edges, even if SELECT is released
	 * before the other key. The existing quit and volume chords stay active. */
	static uint16_t snes_chords;
	unsigned snes_id = 16;
	switch (evt->code) {
	case INPUT_BTN_A: snes_id = RETRO_DEVICE_ID_JOYPAD_A; break;
	case INPUT_BTN_B: snes_id = RETRO_DEVICE_ID_JOYPAD_X; break;
	case INPUT_KEY_LEFT: snes_id = RETRO_DEVICE_ID_JOYPAD_L; break;
	case INPUT_KEY_RIGHT: snes_id = RETRO_DEVICE_ID_JOYPAD_R; break;
	default: break;
	}
	if (snes_id < 16) {
		if (!evt->value && (snes_chords & BIT(snes_id))) {
			snes_chords &= ~BIT(snes_id);
			emu_retro_button(snes_id, false);
			return true;
		}
		if (evt->value && g_select_held && emu_current_system() == EMU_SYSTEM_SNES) {
			g_select_was_chord = true;
			g_select_pending = false;
			snes_chords |= BIT(snes_id);
			emu_retro_button(snes_id, true);
			return true;
		}
	}

	switch (evt->code) {
	case INPUT_BTN_START:
		if (evt->value) {
			k_work_reschedule(&g_sleep_longpress, LONGPRESS_TIMEOUT);
			select_flush(); /* keep SELECT+START quit combo alive */
		} else {
			(void)k_work_cancel_delayable(&g_sleep_longpress);
		}
		return false;

	case INPUT_BTN_SELECT:
		if (evt->value) {
			g_select_held = true;
			g_select_pending = true;
			g_select_was_chord = false;
			return true; /* defer */
		}
		g_select_held = false;
		if (g_select_pending && !g_select_was_chord) {
			/* Plain tap: deliver it now, cleanly. */
			g_select_pending = false;
			input_inject(INPUT_BTN_SELECT, true);
			input_inject(INPUT_BTN_SELECT, false);
			return true;
		}
		if (g_select_was_chord) {
			/* Chord consumed the press — swallow the release. */
			g_select_pending = false;
			g_select_was_chord = false;
			return true;
		}
		return false; /* press was flushed earlier — forward release */

	case INPUT_KEY_UP:
	case INPUT_KEY_DOWN:
	case INPUT_KEY_LEFT:
	case INPUT_KEY_RIGHT:
		if (g_select_held && evt->value) {
			g_select_was_chord = true;
			g_select_pending = false;
			(void)hotkey_level_adjust(evt->code);
			return true;
		}
		return false;

	case INPUT_BTN_A:
	case INPUT_BTN_B:
		/* SELECT+B = save state, SELECT+A = restore state
		 * (in-game only; the game never sees the chord).
		 */
		if (g_select_held && evt->value) {
			struct emu_stats st;

			emu_get_stats(&st);
			if (st.running) {
				g_select_was_chord = true;
				g_select_pending = false;
				bool save = (evt->code == INPUT_BTN_B);
				int rc = save ? emu_state_save(NULL) : emu_state_restore(NULL);

				hud_show_text(rc     ? "STATE ERROR"
					      : save ? "SAVING..."
						     : "LOADING...");
				return true;
			}
		}
		if (evt->value) {
			select_flush();
		}
		return false;

	default:
		if (evt->value) {
			select_flush();
		}
		return false;
	}
}



int main(void)
{
	const struct device *console = DEVICE_DT_GET(DT_CHOSEN(zephyr_console));
	uint32_t dtr = 0;

	platform_init();
	input_set_filter(system_hotkeys_filter);
	k_work_schedule(&g_idle_sleep, IDLE_SLEEP_TIMEOUT);

	uint32_t reset_cause = 0;
	hwinfo_get_reset_cause(&reset_cause);
	LOG_INF("reset cause: 0x%02x%s%s%s%s%s", reset_cause,
		(reset_cause & RESET_POR) ? " POR" : "",
		(reset_cause & RESET_PIN) ? " PIN" : "",
		(reset_cause & RESET_BROWNOUT) ? " BROWNOUT" : "",
		(reset_cause & RESET_WATCHDOG) ? " WDT" : "",
		(reset_cause & RESET_DEBUG) ? " DBG" : "");

	/* The first mount after a tool/OTA reset fails intermittently
	 * (rc gets logged; root cause still open) — retry with backoff
	 * instead of silently booting without storage.
	 */
#ifdef CONFIG_BOOTLOADER_MCUBOOT
	bool mounted = false;
#endif
	for (int attempt = 1; attempt <= 4; attempt++) {
		int mrc = storage_mount();

		if (mrc == 0) {
#ifdef CONFIG_BOOTLOADER_MCUBOOT
			mounted = true;
#endif
			break;
		}
		LOG_WRN("boot mount attempt %d failed: %d", attempt, mrc);
		k_msleep(300 * attempt);
	}
	emu_buzzer_volume(settings_get_int("vol", emu_buzzer_volume_get()));

	if (usbd_setup()) {
		LOG_ERR("USB setup failed");
		return 0;
	}

	/* Light the panel at the persisted brightness, roll the boot
	 * animation once (any button skips), then hand over to the menu.
	 */
	int display_rc = gfx_init();
	(void)display_rc;
	(void)gfx_backlight_set(settings_get_int("bright", GFX_BRIGHT_DEFAULT));
	boot_anim_play();
	menu_start();
#ifdef CONFIG_BOOTLOADER_MCUBOOT
	if (mounted && !display_rc && !boot_is_img_confirmed()) {
		int rc = boot_write_img_confirmed();
		if (rc) {
			LOG_ERR("MCUboot confirmation failed: %d", rc);
		}
	}
#endif

	while (!dtr) {
		uart_line_ctrl_get(console, UART_LINE_CTRL_DTR, &dtr);
		k_sleep(K_MSEC(100));
	}

	return 0;
}
```

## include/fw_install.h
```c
/*
 * BL61x firmware image check and install (shared by USB DFU and WiFi OTA).
 *
 * Image format: the whole-flash image the BootROM boots from offset 0
 * (build/zephyr/zephyr.dfu.bin, tools/bflb_whole_img.py): an 8 KiB BFNP
 * boot header holding the app length (+0x84) and its SHA-256 (+0x88),
 * followed by the app. MCUboot builds accept an MCUboot application image
 * and stage it in the secondary slot instead.
 *
 * SPDX-License-Identifier: Apache-2.0
 */

#ifndef BLIKACHU_FW_INSTALL_H
#define BLIKACHU_FW_INSTALL_H

#include <stddef.h>
#include <stdint.h>
#include <zephyr/toolchain.h>

/**
 * Validate a staged image's format and bounds. The legacy format also
 * checks the BFNP header CRC and SHA-256; MCUboot validates the
 * candidate image before swapping slots.
 *
 * @param img Staged image.
 * @param len In: bytes staged. Out: header + app length (trailing
 *            padding dropped).
 * @retval 0 Image valid.
 * @retval -EINVAL Not a valid image.
 */
int fw_image_check(const uint8_t *img, size_t *len);

/**
 * Install a checked image and reset. Legacy firmware rewrites from
 * offset zero in RAM with IRQs locked; MCUboot firmware writes only the
 * secondary slot and requests a test upgrade. Never returns.
 */
FUNC_NORETURN void fw_install(const uint8_t *img, size_t len);

/** Hook for the app to quiesce (unmount storage, ...); default empty. */
void fw_install_prepare(void);

/**
 * RAM buffer the USB DFU download is staged in (usb_dfu.c), provided by
 * the app. Must hold a whole image (8 KiB header + app).
 *
 * @param cap Out: buffer size in bytes.
 * @return Buffer, or NULL if it is unavailable right now.
 */
uint8_t *dfu_staging_buf(size_t *cap);

/** Release a claimed DFU staging buffer after abort or validation failure. */
void dfu_staging_release(void);

/** Cancel an incomplete DFU transfer on USB reset/disconnect. */
void usb_dfu_cancel(void);

#endif
```

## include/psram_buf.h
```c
#ifndef BLIKACHU_PSRAM_BUF_H
#define BLIKACHU_PSRAM_BUF_H

/* Large app buffers live in the BL618's 4 MB PSRAM (cached, ~XIP-class
 * bandwidth per the bring-up bench) to keep the 480K SRAM for the
 * kernel, WiFi and hostap. NOLOAD region: never assume zero-init.
 */
#define BLIKACHU_BIGBUF __attribute__((section("PSRAM")))

#endif
```

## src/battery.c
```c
/* Battery monitor: VBAT_MES (GPIO10 / ADC channel 7) carries VBAT/2. */

#include <zephyr/device.h>
#include <zephyr/drivers/adc.h>
#include <zephyr/kernel.h>
#include <zephyr/logging/log.h>

#include "battery.h"

LOG_MODULE_REGISTER(battery, LOG_LEVEL_INF);

#define VBAT_ADC_CH     7	/* GPIO10 = ADC CH7 on the v2.0 board */
#define SAMPLE_PERIOD   K_SECONDS(30)
#define ADC_RESOLUTION  12

static const struct device *const adc = DEVICE_DT_GET(DT_ALIAS(vbat_adc));
static atomic_t g_percent = ATOMIC_INIT(-1);

int battery_cached_percent(void)
{
	return atomic_get(&g_percent);
}

/* LiPo open-circuit voltage → charge, coarse piecewise map. */
static const struct {
	uint16_t mv;
	uint8_t pct;
} lipo_curve[] = {
	{4200, 100}, {4060, 90}, {3980, 80}, {3920, 70}, {3870, 60},
	{3820, 50},  {3790, 40}, {3770, 30}, {3740, 20}, {3680, 10},
	{3450, 5},   {3300, 0},
};

uint8_t battery_percent(uint16_t mv)
{
	if (mv >= lipo_curve[0].mv) {
		return 100;
	}
	for (size_t i = 1; i < ARRAY_SIZE(lipo_curve); i++) {
		if (mv >= lipo_curve[i].mv) {
			/* Linear interpolation inside the segment. */
			uint16_t mv_hi = lipo_curve[i - 1].mv;
			uint16_t mv_lo = lipo_curve[i].mv;
			uint8_t pct_hi = lipo_curve[i - 1].pct;
			uint8_t pct_lo = lipo_curve[i].pct;

			return pct_lo + (uint32_t)(mv - mv_lo) * (pct_hi - pct_lo) /
					(mv_hi - mv_lo);
		}
	}
	return 0;
}

int battery_sample_mv(uint16_t *raw_out)
{
	uint16_t raw;
	struct adc_sequence seq = {
		.channels = BIT(VBAT_ADC_CH),
		.buffer = &raw,
		.buffer_size = sizeof(raw),
		.resolution = ADC_RESOLUTION,
	};

	int rc = adc_read(adc, &seq);

	if (rc) {
		return rc;
	}
	if (raw_out) {
		*raw_out = raw;
	}
	/* Use the driver's internal reference, then undo the /2 divider. */
	int32_t mv = raw;

	rc = adc_raw_to_millivolts(adc_ref_internal(adc), ADC_GAIN_1,
				 ADC_RESOLUTION, &mv);
	return rc == 0 ? mv * 2 : rc;
}

static void battery_work_fn(struct k_work *work);
static K_WORK_DELAYABLE_DEFINE(g_battery_work, battery_work_fn);

static void battery_work_fn(struct k_work *work)
{
	ARG_UNUSED(work);
	int mv = battery_sample_mv(NULL);

	if (mv >= 0) {
		atomic_set(&g_percent, battery_percent(mv));
		LOG_INF("battery: %d mV (%u%%)", mv, battery_percent(mv));
	} else {
		LOG_WRN("battery: adc_read failed (%d)", mv);
	}

	k_work_reschedule(&g_battery_work, SAMPLE_PERIOD);
}

static int battery_init(void)
{
	if (!device_is_ready(adc)) {
		LOG_WRN("battery: ADC not ready, monitor disabled");
		return 0;
	}

	const struct adc_channel_cfg cfg = {
		.gain = ADC_GAIN_1,
		.reference = ADC_REF_INTERNAL,
		.acquisition_time = ADC_ACQ_TIME_DEFAULT,
		.channel_id = VBAT_ADC_CH,
		.input_positive = VBAT_ADC_CH,
	};
	int rc = adc_channel_setup(adc, &cfg);

	if (rc) {
		LOG_WRN("battery: channel setup failed (%d)", rc);
		return 0;
	}

	k_work_reschedule(&g_battery_work, K_SECONDS(1));
	return 0;
}
SYS_INIT(battery_init, APPLICATION, 90);
```

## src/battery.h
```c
#ifndef BLIKACHU_BATTERY_H
#define BLIKACHU_BATTERY_H

#include <stdint.h>

/* Sample VBAT once (blocking ADC read). Returns battery millivolts
 * (raw pin voltage x2 for the R26/R27 divider) or negative errno.
 * `raw_out` (optional) receives the raw 12-bit count for diagnostics.
 */
int battery_sample_mv(uint16_t *raw_out);

/* Rough LiPo open-circuit-voltage -> percent map. */
uint8_t battery_percent(uint16_t mv);

/* Latest periodic charge estimate, or -1 before a successful sample. */
int battery_cached_percent(void);

#endif
```

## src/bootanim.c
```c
/*
 * One-shot boot animation from assets/boot.gif (frames live in the XIP
 * code partition as const data). Plays before the menu starts; any
 * button press skips the remainder.
 */

#include <zephyr/kernel.h>
#include <zephyr/logging/log.h>

#include "bootanim.h"
#include "gfx.h"
#include "input.h"
#include "boot_anim.h" /* generated from assets/boot.gif */

LOG_MODULE_REGISTER(bootanim, LOG_LEVEL_INF);

static atomic_t g_skip;
static int64_t g_anim_start;

/* Grace period: waking from deep sleep requires pressing a button, and
 * gpio-keys reports that held button as a fresh press right at boot —
 * which used to skip the animation instantly. Ignore presses in the
 * first half second.
 */
#define SKIP_GRACE_MS 500

static void skip_cb(struct input_event *evt)
{
	if (evt->type == INPUT_EV_KEY && evt->value &&
	    (k_uptime_get() - g_anim_start) > SKIP_GRACE_MS) {
		atomic_set(&g_skip, 1);
	}
}

/* Letterbox fill matching the animation's background (first pixel). */
#define BOOT_ANIM_BG RGB565(0x22, 0x46, 0x70)

/* Cap per-frame hold time — the GIF is authored at 50-100 ms/frame
 * (plus a 1 s hold on the last); the cap plays all 12 frames in ~0.5 s
 * with draw time included.
 */
#define BOOT_ANIM_MAX_FRAME_MS 38

void boot_anim_play(void)
{
	if (gfx_init() != 0) {
		return;
	}

	atomic_set(&g_skip, 0);
	g_anim_start = k_uptime_get();
	input_set_handler(skip_cb);

	gfx_clear(BOOT_ANIM_BG);

	/* Bottom-aligned on the physical panel, horizontally centered.
	 * (gfx_draw_image applies the +LCD_VIEW_Y viewport offset —
	 * compensate to address panel coordinates.)
	 */
	int x = (LCD_PANEL_W - BOOT_ANIM_W) / 2;
	int y = (LCD_PANEL_H - BOOT_ANIM_H) - LCD_VIEW_Y;

	for (int i = 0; i < BOOT_ANIM_FRAMES && !atomic_get(&g_skip); i++) {
		uint32_t offset = boot_anim_offsets[i];
		int rc = gfx_draw_image_rle(x, y, BOOT_ANIM_W, BOOT_ANIM_H,
					  boot_anim_rle + offset,
					  boot_anim_offsets[i + 1] - offset);

		if (rc != 0) {
			LOG_ERR("boot frame %d: %d", i, rc);
			break;
		}

		/* Sleep in small slices so a skip press cuts quickly. */
		int remaining = MIN(boot_anim_delay_ms[i], BOOT_ANIM_MAX_FRAME_MS);

		while (remaining > 0 && !atomic_get(&g_skip)) {
			int slice = MIN(remaining, 25);

			k_msleep(slice);
			remaining -= slice;
		}
	}

	input_set_handler(NULL);
	LOG_INF("boot anim done in %d ms (%d frames, cap %d ms)",
		(int)(k_uptime_get() - g_anim_start), BOOT_ANIM_FRAMES, BOOT_ANIM_MAX_FRAME_MS);
}
```

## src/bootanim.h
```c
#ifndef BLIKACHU_BOOTANIM_H
#define BLIKACHU_BOOTANIM_H

/* Play the boot animation once (blocking). Any button press skips the
 * remainder. Safe to call before the menu starts; no-op if the display
 * isn't ready.
 */
void boot_anim_play(void);

#endif
```
